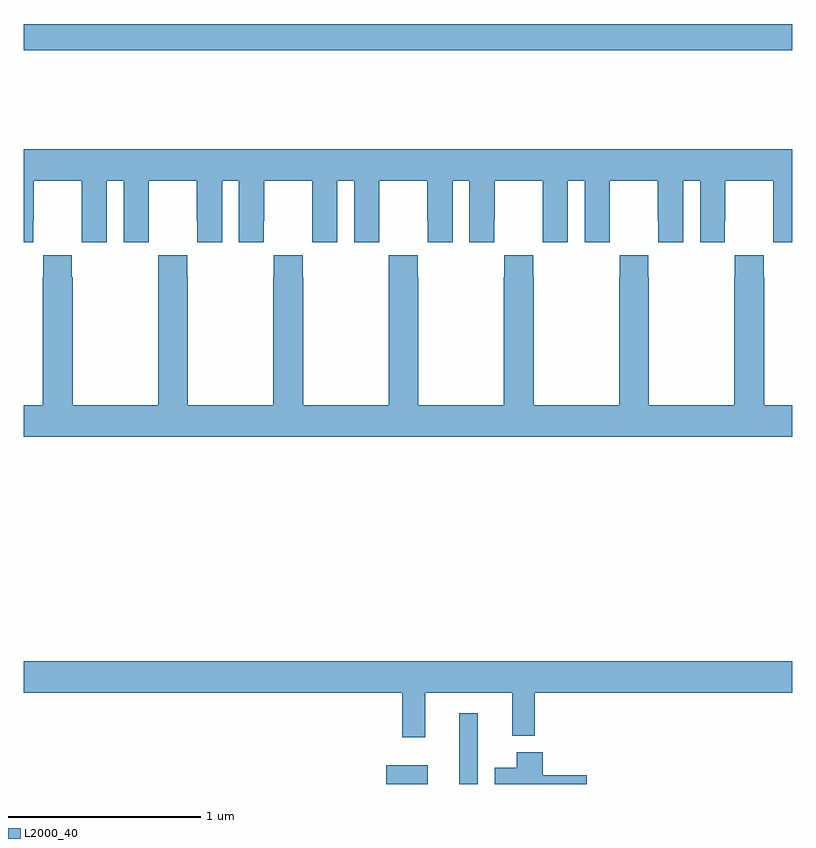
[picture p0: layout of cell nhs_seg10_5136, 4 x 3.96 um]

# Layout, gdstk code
import gdstk
lib = gdstk.Library(unit=1e-6, precision=1e-09)
def R(c, l, rs):  # rectangles x0, y0, x1, y1
    for r in rs: c.add(gdstk.rectangle(r[:2], r[2:], *l))
def P(c, l, *ps):  # polygons
    for p in ps: c.add(gdstk.Polygon(p, *l))
L2000_40 = (2000, 40)

nhs_seg10_5136 = lib.new_cell('nhs_seg10_5136')
R(nhs_seg10_5136, L2000_40, [(410.888,1306.5,411.103,1306.597), (411.266,1306.5,411.363,1306.867), (409,1310.32,413,1310.456)])
P(nhs_seg10_5136, L2000_40, [(409,1309.32),(409.05,1309.32),(409.05,1309.432),(409.051,1309.432),(409.051,1309.64),(409.301,1309.64),(409.301,1309.432),(409.302,1309.432),(409.302,1309.32),(409.432,1309.32),(409.432,1309.64),(409.52,1309.64),(409.52,1309.32),(409.65,1309.32),(409.65,1309.432),(409.651,1309.432),(409.651,1309.64),(409.901,1309.64),(409.901,1309.432),(409.902,1309.432),(409.902,1309.32),(410.032,1309.32),(410.032,1309.64),(410.12,1309.64),(410.12,1309.32),(410.25,1309.32),(410.25,1309.432),(410.251,1309.432),(410.251,1309.64),(410.501,1309.64),(410.501,1309.432),(410.502,1309.432),(410.502,1309.32),(410.632,1309.32),(410.632,1309.64),(410.72,1309.64),(410.72,1309.32),(410.85,1309.32),(410.85,1309.432),(410.851,1309.432),(410.851,1309.64),(411.101,1309.64),(411.101,1309.432),(411.102,1309.432),(411.102,1309.32),(411.232,1309.32),(411.232,1309.64),(411.32,1309.64),(411.32,1309.32),(411.45,1309.32),(411.45,1309.432),(411.451,1309.432),(411.451,1309.64),(411.701,1309.64),(411.701,1309.432),(411.702,1309.432),(411.702,1309.32),(411.832,1309.32),(411.832,1309.64),(411.92,1309.64),(411.92,1309.32),(412.05,1309.32),(412.05,1309.432),(412.051,1309.432),(412.051,1309.64),(412.301,1309.64),(412.301,1309.432),(412.302,1309.432),(412.302,1309.32),(412.432,1309.32),(412.432,1309.64),(412.52,1309.64),(412.52,1309.32),(412.65,1309.32),(412.65,1309.432),(412.651,1309.432),(412.651,1309.64),(412.901,1309.64),(412.901,1309.432),(412.902,1309.432),(412.902,1309.32),(413,1309.32),(413,1309.804),(409,1309.804)],
  [(413,1308.472),(412.854,1308.472),(412.854,1309.139),(412.851,1309.139),(412.851,1309.252),(412.701,1309.252),(412.701,1309.139),(412.699,1309.139),(412.699,1308.472),(412.254,1308.472),(412.254,1309.139),(412.251,1309.139),(412.251,1309.252),(412.101,1309.252),(412.101,1309.139),(412.099,1309.139),(412.099,1308.472),(411.654,1308.472),(411.654,1309.139),(411.651,1309.139),(411.651,1309.252),(411.501,1309.252),(411.501,1309.139),(411.499,1309.139),(411.499,1308.472),(411.054,1308.472),(411.054,1309.139),(411.051,1309.139),(411.051,1309.252),(410.901,1309.252),(410.901,1309.139),(410.899,1309.139),(410.899,1308.472),(410.454,1308.472),(410.454,1309.139),(410.451,1309.139),(410.451,1309.252),(410.301,1309.252),(410.301,1309.139),(410.299,1309.139),(410.299,1308.472),(409.854,1308.472),(409.854,1309.139),(409.851,1309.139),(409.851,1309.252),(409.701,1309.252),(409.701,1309.139),(409.699,1309.139),(409.699,1308.472),(409.254,1308.472),(409.254,1309.139),(409.251,1309.139),(409.251,1309.252),(409.101,1309.252),(409.101,1309.139),(409.099,1309.139),(409.099,1308.472),(409,1308.472),(409,1308.308),(413,1308.308)],
  [(409,1306.976),(410.971,1306.976),(410.971,1306.743),(411.089,1306.743),(411.089,1306.976),(411.542,1306.976),(411.542,1306.751),(411.659,1306.751),(411.659,1306.976),(413,1306.976),(413,1307.14),(409,1307.14)],
  [(411.931,1306.545),(411.701,1306.545),(411.701,1306.666),(411.566,1306.666),(411.566,1306.585),(411.452,1306.585),(411.452,1306.5),(411.931,1306.5)])

lib.write_gds('nhs_seg10_5136.gds')
